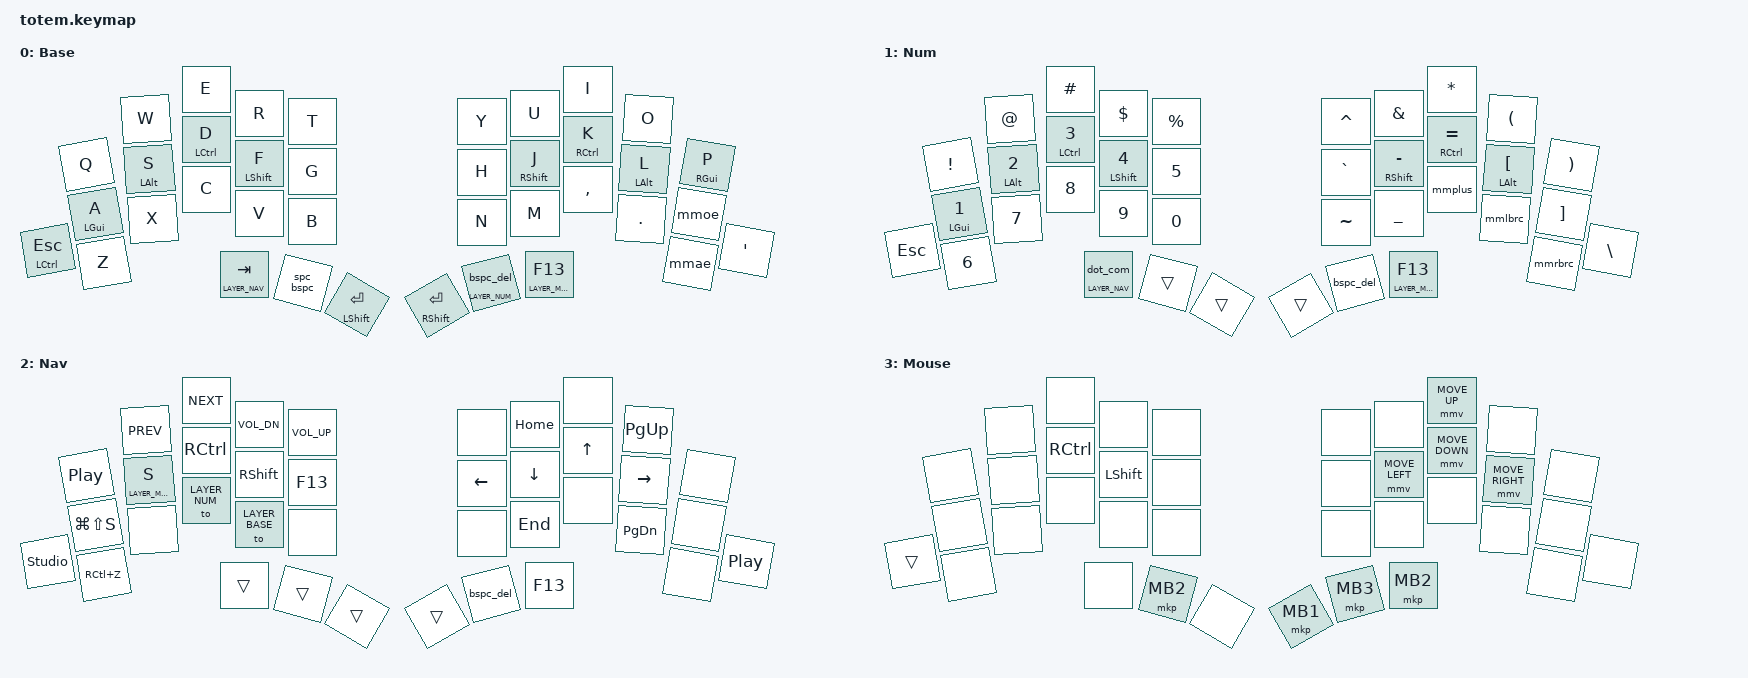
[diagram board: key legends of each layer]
//
//                                                        ▀▀▀▀▀     ▀▀▀▀▀          ▀▀█▀▀
//                                                        ▄▀▀▀▄  ▄  ▄▀▀▀▄  ▄  ▄▀▀▀▄  █  ▄▀▀▀▄
//                                                        █   █  █  █   █  █  █   █  █  █   █
//                                                         ▀▀▀   █   ▀▀▀   █   ▀▀▀   ▀   ▀▀▀
//                                                               █      ▄▄▄█▄▄▄    █   █  
//                                                               ▀      █  █  █     █▄█
//                                                             ▀▀▀▀▀    █  █  █      ▀
//                                                                      ▀  ▀  ▀
//
// ▄▄▄▄▄▄▄▄▄▄▄▄▄▄▄▄▄▄▄▄▄▄▄▄▄▄▄▄▄▄▄▄▄▄▄▄▄▄▄▄▄▄▄▄▄▄▄▄▄▄▄▄▄▄▄▄▄▄▄▄▄▄▄▄▄▄▄▄▄▄▄▄▄▄▄▄▄▄▄▄▄▄▄▄▄▄▄▄▄▄▄▄▄▄▄▄▄▄▄▄▄▄▄▄▄▄▄▄▄▄▄▄▄▄▄▄▄▄▄▄▄▄▄▄▄▄▄▄▄▄▄▄▄▄▄▄▄▄▄▄▄▄▄▄▄▄▄▄▄

//   ╭────────────────────┬────────────────────╮   
//   │  0   1   2   3   4 │  5   6   7   8   9 │   
//   │ 10  11  12  13  14 │ 15  16  17  18  19 │   
//  20 21  22  23  24  25 │ 26  27  28  29  30 31  
//   ╰───────╮ 32  33  34 │ 35  36  37 ╭───────╯    
//           ╰────────────┴────────────╯             


// Mouse movement speed, defined before the pointing headers.
#define ZMK_POINTING_DEFAULT_MOVE_VAL 1200

#include <behaviors.dtsi>
#include <behaviors/unicode.dtsi>
#include <dt-bindings/zmk/keys.h>
#include <dt-bindings/zmk/pointing.h>

#define LAYER_BASE  0
#define LAYER_NAV   2
#define LAYER_NUM   1
#define LAYER_MOUSE 3

#define KeysLeft    0 1 2 3 4 10 11 12 13 14 20 21 22 23 24 25
#define KeysRight   5 6 7 8 9 15 16 17 18 19 26 27 28 29 30 31
#define Thumbs      32 33 34 35 36 37


#define UC_AE  0xe4  0xc4  // ä/Ä USAGE - &uc UC_AE /* ä/Ä - same as &uc 0xE4 0xC4 */
#define UC_OEL  0xf6 // ö
#define UC_AO  0xe5  0xc5  // å/Å
#define UC_OE  0xf6  0xd6  // ö/Ö

/*
&mt {
    quick-tap-ms = <140>;
    global-quick-tap;
    //flavor = "tap-preferred";
    //tapping-term-ms = <170>;
};

&lt {
    tapping-term-ms = <240>;
    flavor = "balanced";
    quick-tap-ms = <150>;
};
*/

&uc {
    default-mode = <UC_MODE_WIN_COMPOSE>;  // Replace with desired input system.
    win-compose-key = <RALT>;  // replace with desired key   
//    minimum-length = <4>;
};

/ {
    behaviors { 


        hml: home_row_mod_left {
            compatible = "zmk,behavior-hold-tap";
            #binding-cells = <2>;
            flavor = "balanced";
            require-prior-idle-ms = <130>;
            tapping-term-ms = <280>;
            quick-tap-ms = <175>;
            bindings = <&kp>, <&kp>;
            hold-trigger-key-positions = <KeysRight Thumbs>; // List of keys on the right side of the keyboard
            hold-trigger-on-release;
        };

        hmlg: home_row_mod_left_gui {
            compatible = "zmk,behavior-hold-tap";
            #binding-cells = <2>; 
            flavor = "tap-preferred";
            require-prior-idle-ms = <280>;
            tapping-term-ms = <450>;
            quick-tap-ms = <175>;
            bindings = <&kp>, <&kp>;
            hold-trigger-key-positions = <KeysRight Thumbs>; // List of keys on the right side of the keyboard
            hold-trigger-on-release;
        };

        hmr: home_row_mod_right {
            compatible = "zmk,behavior-hold-tap";
            #binding-cells = <2>;
            flavor = "balanced";
            require-prior-idle-ms = <130>;
            tapping-term-ms = <280>;
            quick-tap-ms = <175>;
            bindings = <&kp>, <&kp>;
            hold-trigger-key-positions = <KeysLeft Thumbs>; // List of keys on the left side of the keyboard
            hold-trigger-on-release;
        };

        hmrg: home_row_mod_right_gui {
            compatible = "zmk,behavior-hold-tap";
            #binding-cells = <2>;
            flavor = "tap-preferred";
            require-prior-idle-ms = <280>;
            tapping-term-ms = <450>;
            quick-tap-ms = <175>;
            bindings = <&kp>, <&kp>;
            hold-trigger-key-positions = <KeysLeft Thumbs>; // List of keys on the left side of the keyboard
            hold-trigger-on-release;
        };

        hmrae: home_row_mod_righ_aakkoset {
            compatible = "zmk,behavior-hold-tap";
            #binding-cells = <2>;
            flavor = "balanced";
            require-prior-idle-ms = <130>;
            tapping-term-ms = <280>;
            quick-tap-ms = <175>;
            bindings = <&kp>, <&uc>;
            hold-trigger-key-positions = <KeysLeft Thumbs>; // List of keys on the left side of the keyboard
            hold-trigger-on-release;
        };

        spc_bspc: space_backspace {
            compatible = "zmk,behavior-mod-morph";
            label = "SPACE_BACKSPACE";
            #binding-cells = <0>;
            bindings = <&kp SPACE>, <&kp BACKSPACE>;
            mods = <(MOD_LCTL|MOD_RCTL)>;
        };

        bspc_del: backspace_delete {
            compatible = "zmk,behavior-mod-morph";
            label = "BACKSPACE_DELETE";
            #binding-cells = <0>;
            bindings = <&kp BACKSPACE>, <&kp DELETE>;
            mods = <(MOD_LSFT|MOD_RSFT)>;
        };
        
        mmoe: modmorphOE {
            compatible = "zmk,behavior-mod-morph";
            label = "mmOE";
            #binding-cells = <0>;
            bindings = <&uc UC_OE>, <&kp SEMICOLON>;
            mods = <(MOD_LCTL|MOD_LALT)>;
        };

        mmae: modmorphAE {
            compatible = "zmk,behavior-mod-morph";
            label = "mmOA";
            #binding-cells = <0>;
            bindings = <&uc UC_AE>, <&kp SLASH>;
            mods = <(MOD_LCTL|MOD_LALT)>;
        };

        mmplus: modmorphPlusComma {
            compatible = "zmk,behavior-mod-morph";
            label = "mmplus";
            #binding-cells = <0>;
            bindings = <&kp PLUS>, <&kp COMMA>;
            mods = <(MOD_LCTL|MOD_LALT)>;
        };

        mmlbrc: modmorphLBrcDot {
            compatible = "zmk,behavior-mod-morph";
            label = "mmlbrc";
            #binding-cells = <0>;
            bindings = <&kp LBRC>, <&kp DOT>;
            mods = <(MOD_LCTL|MOD_LALT)>;
        };

        mmrbrc: modmorphRBrcSemicolon {
            compatible = "zmk,behavior-mod-morph";
            label = "mmrbrc";
            #binding-cells = <0>;
            bindings = <&kp RBRC>, <&kp COMMA>;
            mods = <(MOD_LCTL|MOD_LALT)>;
        };

        lt_bspc: layer_tap_bspc_del {
            compatible = "zmk,behavior-hold-tap";
            label = "LAYER_TAP_BACKSPACE_DELETE";
            #binding-cells = <2>;
            bindings = <&mo>, <&bspc_del>;
            tapping-term-ms = <200>;
            //quick-tap-ms = <175>;
        };

        // Match the normal layer-tap, with a Ctrl-sensitive tap action.
        lt_dot: layer_tap_dot_comma {
            compatible = "zmk,behavior-hold-tap";
            #binding-cells = <2>;
            flavor = "tap-preferred";
            tapping-term-ms = <200>;
            bindings = <&mo>, <&dot_com>;
        };

        dot_com: dot_comma {
            compatible = "zmk,behavior-mod-morph";
            #binding-cells = <0>;
            bindings = <&kp DOT>, <&kp COMMA>;
            mods = <(MOD_LCTL|MOD_RCTL)>;
        };

    };

    combos { 
        compatible = "zmk,combos"; 
    
        Bootloader { // combo invokes central board, i.e. dongle
            bindings = <&bootloader>;
            key-positions = <20 31>;
        };

        CapsWord {
            bindings = <&caps_word>;
            key-positions = <14 15>;
            layers = <LAYER_BASE>;
        };

        ToBase {
            bindings = <&to LAYER_BASE>;
            key-positions = <34 35>;
        }; 

        ToNav {
            bindings = <&to LAYER_NAV>;
            key-positions = <25 26>;
        }; 
 
        // arrow combos for one handed youtube sponsor skipping
        RightArrow { 
            bindings = <&kp RIGHT>;
            key-positions = <30 31>;
        }; 

        LeftArrow {
            bindings = <&kp LEFT>;
            key-positions = <19 29>;
        }; 

    };

    keymap {
        compatible = "zmk,keymap";

        Base {
            display-name = "Base";
            bindings = <
//            ╭────────────────┬──────────────┬──────────────┬──────────────┬──────────────╮  ╭──────────────┬──────────────┬──────────────┬──────────────┬──────────────╮
                     &kp Q          &kp W          &kp E          &kp R          &kp T              &kp Y         &kp U          &kp I          &kp O        &hmrg RGUI P
//            ├────────────────┼──────────────┼──────────────┼──────────────┼──────────────┤  ├──────────────┼──────────────┼──────────────┼──────────────┼──────────────┤
                  &hmlg LGUI A     &hml LALT S   &hml LCTRL D   &hml LSHIFT F    &kp G              &kp H      &hmr RSHFT J   &hmr RCTRL K   &hmr LALT L       &mmoe      // semicolon to numlayer or a modmorph behind ctrl or alt, or a combo
//╭───────────┼────────────────┼──────────────┼──────────────┼──────────────┼──────────────┤  ├──────────────┼──────────────┼──────────────┼──────────────┼──────────────┼──────────────╮
  &mt LCTRL ESCAPE   &kp Z          &kp X          &kp C          &kp V          &kp B              &kp N         &kp M        &kp COMMA       &kp DOT         &mmae     &kp SINGLE_QUOTE // fslash or quote to numlyer a modmorph behind ctrl or alt, or a combo
//╰───────────┴────────────────┴──────────────┼──────────────┼──────────────┼──────────────┤  ├──────────────┼──────────────┼──────────────┤──────────────┴──────────────┴──────────────╯
                                                 &lt LAYER_NAV TAB      &spc_bspc  &mt LSHIFT RETURN  &mt RSHFT RETURN &lt_bspc LAYER_NUM 0    &lt LAYER_MOUSE F13   // add a modmorph to TAB to enable return on left hand, mind the homerow mods for alt tab etc. or a homerow combo with 3 fingers or change tab and enter / left-right around
//                                            ╰──────────────┴──────────────┴──────────────╯  ╰──────────────┴──────────────┴──────────────╯
            >;  
        };



        Num {
            display-name = "Num";
            bindings = <
//            ╭────────────────┬──────────────┬──────────────┬──────────────┬──────────────╮  ╭──────────────┬──────────────┬──────────────┬──────────────┬──────────────╮
                    &kp EXCL       &kp AT        &kp HASH       &kp DOLLAR     &kp PERCENT       &kp CARET       &kp AMPS      &kp ASTRK       &kp LPAR       &kp RPAR  
//            ├────────────────┼──────────────┼──────────────┼──────────────┼──────────────┤  ├──────────────┼──────────────┼──────────────┼──────────────┼──────────────┤
                 &hmlg LGUI N1   &hml LALT N2   &hml LCTRL N3  &hml LSHIFT N4    &kp N5          &kp GRAVE  &hmr RSHFT MINUS &hmr RCTRL EQUAL &hmr LALT LBKT &kp RBKT
//╭───────────┼────────────────┼──────────────┼──────────────┼──────────────┼──────────────┤  ├──────────────┼──────────────┼──────────────┼──────────────┼──────────────┼──────────────╮
  &kp ESC           &kp N6          &kp N7         &kp N8         &kp N9         &kp N0          &kp TILDE       &kp UNDER      &mmplus        &mmlbrc        &mmrbrc    &kp BSLH
//╰───────────┴────────────────┴──────────────┼──────────────┼──────────────┼──────────────┤  ├──────────────┼──────────────┼──────────────┤──────────────┴──────────────┴──────────────╯
                                                   &lt_dot LAYER_NAV 0      &trans         &trans            &trans       &bspc_del      &lt LAYER_MOUSE F13
//                                            ╰──────────────┴──────────────┴──────────────╯  ╰──────────────┴──────────────┴──────────────╯
            >;
        }; 

        Nav {
            display-name = "Nav";
            bindings = <
//            ╭────────────────┬──────────────┬──────────────┬──────────────┬──────────────╮  ╭──────────────┬──────────────┬──────────────┬──────────────┬──────────────╮
                   &kp C_PP        &kp C_PREV    &kp C_NEXT    &kp C_VOL_DN    &kp C_VOL_UP        &none         &kp HOME        &none        &kp PG_UP        &none
//            ├────────────────┼──────────────┼──────────────┼──────────────┼──────────────┤  ├──────────────┼──────────────┼──────────────┼──────────────┼──────────────┤
                &kp LG(LS(S))      &lt LAYER_MOUSE S         &kp RCTRL      &kp RSHFT       &kp F13         &kp LEFT       &kp DOWN        &kp UP       &kp RIGHT        &none
//╭───────────┼────────────────┼──────────────┼──────────────┼──────────────┼──────────────┤  ├──────────────┼──────────────┼──────────────┼──────────────┼──────────────┼──────────────╮
  &studio_unlock    &kp RC(Z)        &none         &to LAYER_NUM          &to LAYER_BASE           &none             &none        &kp END         &none        &kp PG_DN        &none       &kp C_PLAY_PAUSE
//╰───────────┴────────────────┴──────────────┼──────────────┼──────────────┼──────────────┤  ├──────────────┼──────────────┼──────────────┤──────────────┴──────────────┴──────────────╯
                                                   &trans         &trans         &trans            &trans       &bspc_del      &kp F13
//                                            ╰──────────────┴──────────────┴──────────────╯  ╰──────────────┴──────────────┴──────────────╯
            >; 
        };

        Mouse {
            display-name = "Mouse";
            bindings = <
//            ╭────────────────┬──────────────┬──────────────┬──────────────┬──────────────╮  ╭──────────────┬──────────────┬──────────────┬──────────────┬──────────────╮
                    &none           &none          &none          &none          &none              &none         &none        &mmv MOVE_UP     &none           &none  
//            ├────────────────┼──────────────┼──────────────┼──────────────┼──────────────┤  ├──────────────┼──────────────┼──────────────┼──────────────┼──────────────┤
                    &none           &none        &kp RCTRL      &kp LSHIFT       &none              &none     &mmv MOVE_LEFT &mmv MOVE_DOWN &mmv MOVE_RIGHT     &none
//╭───────────┼────────────────┼──────────────┼──────────────┼──────────────┼──────────────┤  ├──────────────┼──────────────┼──────────────┼──────────────┼──────────────┼──────────────╮
  &trans            &none           &none          &none          &none          &none              &none         &none          &none          &none           &none            &none
//╰───────────┴────────────────┴──────────────┼──────────────┼──────────────┼──────────────┤  ├──────────────┼──────────────┼──────────────┤──────────────┴──────────────┴──────────────╯
                                                   &none          &mkp MB2       &none            &mkp MB1      &mkp MB3        &mkp MB2
//                                            ╰──────────────┴──────────────┴──────────────╯  ╰──────────────┴──────────────┴──────────────╯
            >; 
        };
        
    };
};
